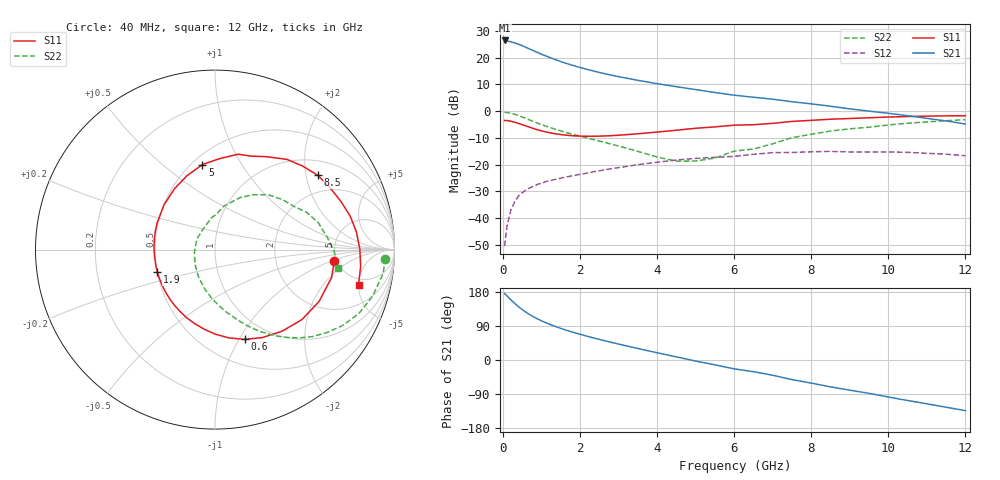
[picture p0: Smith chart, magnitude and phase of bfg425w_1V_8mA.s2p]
! Filename: 18bfg425.001
! BFG425W Field C1
! V1=8.472E-001V,V2=1.000E+000V, I1=1.149E-004A, I2=7.990E-003A
# GHz  S  MA  R 50
!  S11  S21  S12  S22
!Freq(GHz)  Mag  Ang  Mag  Ang  Mag  Ang  Mag  Ang
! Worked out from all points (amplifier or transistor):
!   44 points, 40 MHz to 12 GHz, reference 50 ohm
!   highest |S21| = 26.4 dB at 40 MHz (marker M1)
!   |S21| within 3 dB of that: start of sweep to 659.5 MHz
!   unconditionally stable (mu >= 1): 1.979 GHz to end of sweep
!   at 700 MHz: K = 0.48, MSG = 25.9 dB, |S12| = -28.6 dB
!   at 2.4 GHz: K = 1.09, MAG = 16.8 dB, |S12| = -22.5 dB
!   at 12 GHz: K = 1.42, MAG = 2.1 dB, |S12| = -16.7 dB
!   S11 on the Smith chart (normalised r, x): 40 MHz: 4.77, -1.09; 600 MHz: 0.76, -1.06; 1.9 GHz: 0.50, -0.14; 5 GHz: 0.56, +0.69; 8.5 GHz: 1.42, +2.34; 12 GHz: 4.14, -4.99
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0.04  0.668 -5.4  20.94 175.4  0.003 82.8  0.951 -3.0
0.1  0.668 -13.4  20.5 169.2  0.007 82.6  0.946 -8.2
0.2  0.648 -26.4  19.79 158.9  0.014 76.0  0.916 -16.4
0.3  0.622 -38.8  18.9 149.7  0.02 70.0  0.877 -23.9
0.4  0.589 -50.4  17.81 140.9  0.026 64.7  0.828 -30.7
0.5  0.557 -61.6  16.67 132.8  0.03 60.1  0.777 -36.5
0.6  0.527 -71.6  15.49 125.7  0.034 56.5  0.728 -41.7
0.8  0.471 -89.9  13.37 113.4  0.04 50.5  0.636 -50.4
0.9  0.447 -98.0  12.45 108.1  0.043 48.3  0.597 -54.0
1.1  0.411 -112.7  10.82 98.7  0.048 44.9  0.529 -60.3
1.3  0.384 -125.8  9.508 90.6  0.052 42.2  0.473 -65.7
1.5  0.365 -137.8  8.45 83.4  0.056 40.2  0.427 -70.4
1.9  0.344 -159.0  6.855 70.7  0.064 36.6  0.356 -79.3
2.2  0.339 -172.9  5.978 62.2  0.07 34.0  0.313 -85.9
3  0.355 155.3  4.409 42.0  0.088 26.2  0.223 -105.5
3.5  0.378 138.7  3.764 30.3  0.1 20.3  0.177 -121.4
4.5  0.44 110.9  2.865 8.2  0.122 7.0  0.116 -172.3
5  0.479 98.4  2.528 -2.8  0.131 -1.0  0.117 149.8
6.5  0.558 69.0  1.82 -30.8  0.156 -19.0  0.196 88.1
8.5  0.707 35.8  1.236 -70.9  0.177 -54.3  0.425 46.1
10.5  0.794 7.1  0.824 -106.9  0.17 -87.7  0.595 14.5
12  0.823 -13.7  0.575 -133.6  0.147 -116.1  0.694 -8.3
